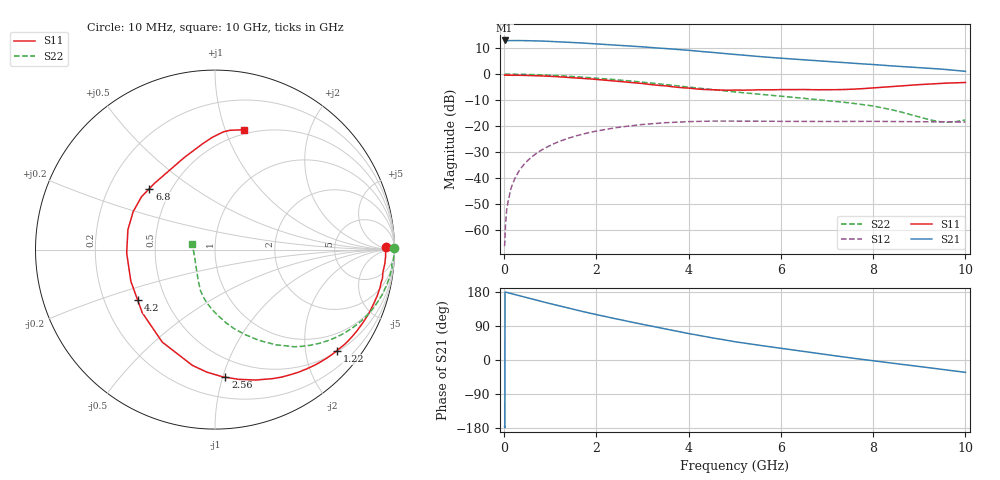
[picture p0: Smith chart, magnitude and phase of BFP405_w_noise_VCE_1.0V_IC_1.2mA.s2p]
! Infineon Technologies  Discrete & RF Semiconductors
! BFP405
! VCE =  1.0 V,  IC =  1.2 mA
! Common Emitter S-Parameters:  Jan 2016
# GHz  S  MA  R  50
!  f  S11  S21  S12  S22
! GHz  MAG  ANG  MAG  ANG  MAG  ANG  MAG  ANG
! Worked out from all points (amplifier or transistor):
!   233 points, 10 MHz to 10 GHz, reference 50 ohm
!   highest |S21| = 12.9 dB at 10 MHz (marker M1)
!   |S21| within 3 dB of that: start of sweep to 3.43 GHz
!   unconditionally stable (mu >= 1): 4.86 GHz to end of sweep
!   at 200 MHz: K = 0.02, MSG = 27.2 dB, |S12| = -41.5 dB
!   at 1.74 GHz: K = 0.26, MSG = 17.4 dB, |S12| = -22.9 dB
!   at 10 GHz: K = 1.94, MAG = 4.2 dB, |S12| = -18.4 dB
!   lowest NFmin = 0.75 dB at 900 MHz
!   S11 on the Smith chart (normalised r, x): 10 MHz: 35, +12; 1.22 GHz: 0.53, -2.68; 2.56 GHz: 0.35, -1.02; 4.2 GHz: 0.35, -0.27; 6.8 GHz: 0.38, +0.34; 10 GHz: 0.46, +1.16
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0.01  0.9506 1.0  4.4 -176.8  0.0005 35.3  1 0.6
0.02  0.9507 -0.5  4.346 179.3  0.0008 86.5  0.9941 0.1
0.04  0.9514 -1.4  4.344 179.0  0.0018 89.2  0.9961 -0.4
0.06  0.9516 -2.2  4.349 178.4  0.0027 89.0  0.9971 -0.9
0.145  0.9498 -4.5  4.374 175.6  0.0063 87.8  0.9952 -2.8
0.28  0.9455 -8.9  4.384 171.3  0.0119 85.2  0.9904 -5.4
0.52  0.9382 -16.7  4.352 163.6  0.0224 80.8  0.9814 -10.0
0.8  0.9202 -25.9  4.29 154.9  0.0344 75.3  0.9634 -15.3
1.22  0.8821 -39.7  4.142 142.1  0.0519 66.9  0.9248 -23.1
1.68  0.8291 -55.0  3.939 128.7  0.0696 57.7  0.8721 -30.9
2.06  0.7784 -67.9  3.754 118.2  0.0824 50.2  0.8248 -36.9
2.56  0.7136 -85.3  3.513 105.2  0.0971 41.0  0.7596 -44.3
3  0.6575 -101.0  3.318 94.0  0.1077 33.1  0.6997 -50.7
3.4  0.6007 -115.7  3.125 84.2  0.1147 26.2  0.6423 -56.0
4.2  0.5146 -146.8  2.741 65.5  0.1231 13.9  0.5379 -66.5
4.5  0.501 -159.3  2.609 58.6  0.1251 9.7  0.5034 -70.4
5.1  0.4908 179.2  2.334 46.6  0.1253 2.5  0.4447 -77.3
6  0.5026 155.2  2.01 30.7  0.1235 -5.4  0.3752 -86.3
6.8  0.4992 137.1  1.792 17.3  0.1229 -10.7  0.3221 -94.6
8.4  0.5745 100.3  1.433 -8.2  0.1226 -20.3  0.2066 -116.0
9.4  0.6579 85.9  1.256 -23.4  0.1209 -25.0  0.1231 -155.3
10  0.6876 76.3  1.125 -32.6  0.1202 -26.8  0.132 165.5
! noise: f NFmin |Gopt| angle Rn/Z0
0.9  0.75  0.69  15  0.52
1.8  1.17  0.55  31  0.46
2.4  1.43  0.45  42  0.42
3  1.52  0.46  56  0.39
4  1.76  0.33  84  0.29
5  2.09  0.3  121  0.2
